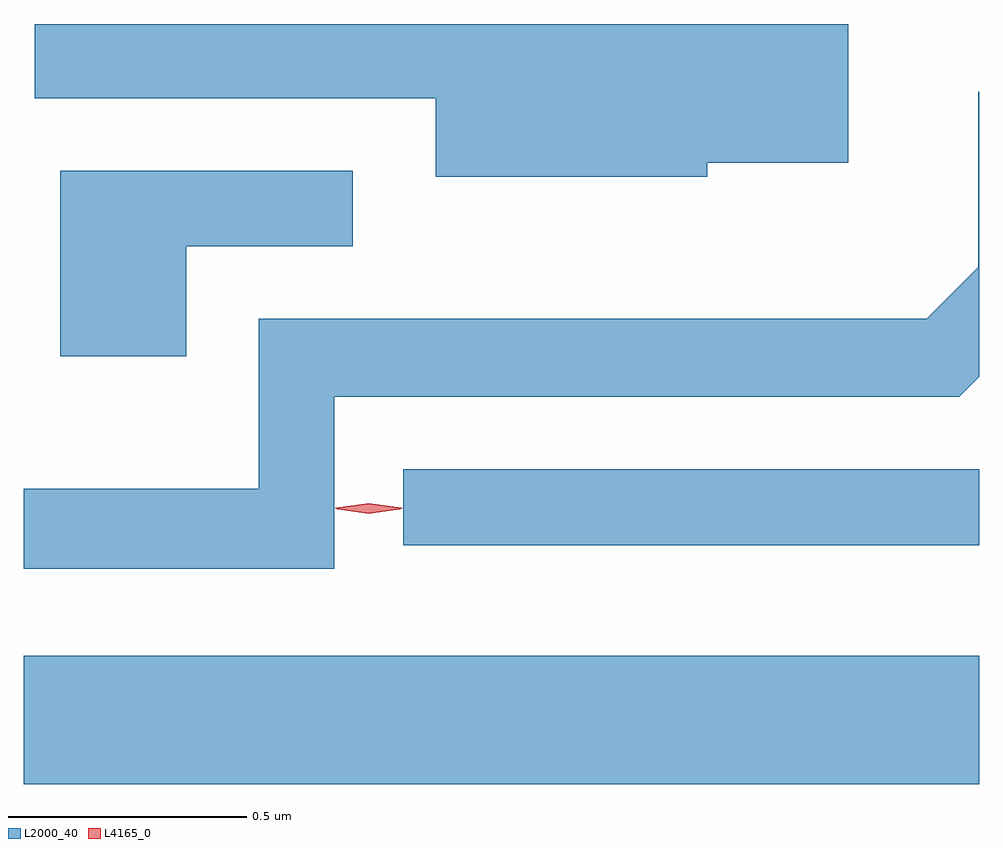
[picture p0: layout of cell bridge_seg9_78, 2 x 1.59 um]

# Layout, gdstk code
import gdstk
lib = gdstk.Library(unit=1e-6, precision=1e-09)
def R(c, l, rs):  # rectangles x0, y0, x1, y1
    for r in rs: c.add(gdstk.rectangle(r[:2], r[2:], *l))
def P(c, l, *ps):  # polygons
    for p in ps: c.add(gdstk.Polygon(p, *l))
L2000_40 = (2000, 40)
L4165_0 = (4165, 0)

bridge_seg9_78 = lib.new_cell('bridge_seg9_78')
R(bridge_seg9_78, L2000_40, [(1774.724,1976.276,1776.724,1976.544), (1775.518,1976.776,1776.724,1976.934)])
P(bridge_seg9_78, L2000_40, [(1776.154,1977.576),(1776.449,1977.576),(1776.449,1977.866),(1774.748,1977.866),(1774.748,1977.711),(1775.586,1977.711),(1775.586,1977.546),(1776.154,1977.546)],
  [(1775.374,1977.086),(1776.682,1977.086),(1776.724,1977.128),(1776.724,1977.724),(1776.721,1977.724),(1776.721,1977.357),(1776.614,1977.249),(1775.216,1977.249),(1775.216,1976.894),(1774.724,1976.894),(1774.724,1976.726),(1775.374,1976.726)],
  [(1775.064,1977.401),(1775.413,1977.401),(1775.413,1977.559),(1774.801,1977.559),(1774.801,1977.171),(1775.064,1977.171)])
P(bridge_seg9_78, L4165_0, [(1775.446,1976.843),(1775.377,1976.853),(1775.376,1976.853),(1775.377,1976.854),(1775.446,1976.863),(1775.515,1976.854),(1775.516,1976.853),(1775.515,1976.853)],
  [(1775.446,1976.841),(1775.38,1976.851),(1775.379,1976.851),(1775.38,1976.852),(1775.446,1976.861),(1775.512,1976.852),(1775.513,1976.852),(1775.512,1976.851)])

lib.write_gds('bridge_seg9_78.gds')
